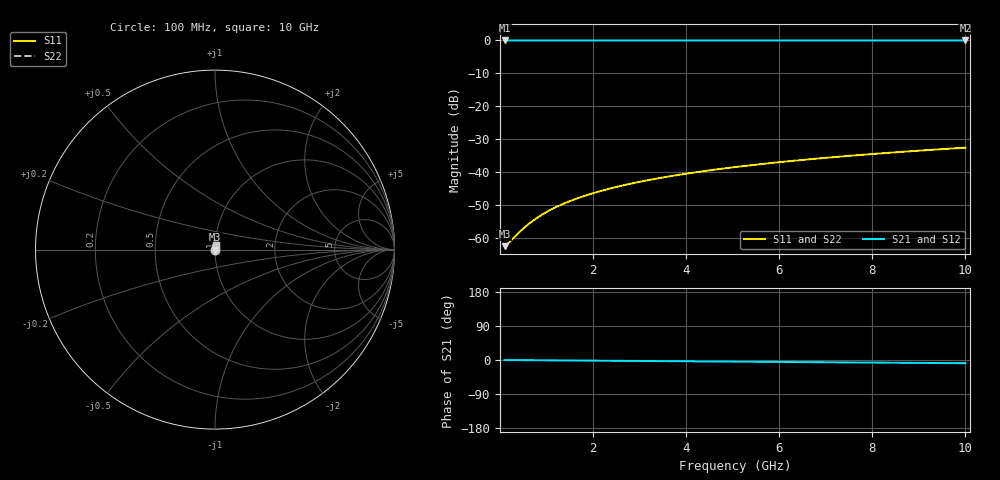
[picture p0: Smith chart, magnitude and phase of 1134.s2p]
# Hz S RI R 50.00
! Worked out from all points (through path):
!   100 points, 100 MHz to 10 GHz, reference 50 ohm
!   highest |S21| = -0.01 dB at 100 MHz (marker M1); lowest = 0.0 dB at 10 GHz (marker M2)
!   group delay of S21, straight-line fit = 2.37 ps
!   lowest |S11| = -62.6 dB at 100 MHz (marker M3), VSWR 1.00, Z = 50.1 + j0.0234 ohm
!   |S11| at or under -10 dB: start of sweep to end of sweep
!   |S22| runs from -62.6 to -32.6 dB; largest |S21 - S12| = 0
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1e8  0.000704 0.000233  0.9993 -0.00148  0.9993 -0.00148  0.000704 0.000233
2e8  0.000709 0.000467  0.9993 -0.00296  0.9993 -0.00296  0.000709 0.000467
4e8  0.000718 0.000933  0.9993 -0.00591  0.9993 -0.00591  0.000718 0.000933
5e8  0.000723 0.00117  0.9993 -0.00739  0.9993 -0.00739  0.000723 0.00117
6e8  0.000729 0.0014  0.9992 -0.00887  0.9992 -0.00887  0.000729 0.0014
7e8  0.000734 0.00163  0.9992 -0.0103  0.9992 -0.0103  0.000734 0.00163
9e8  0.000748 0.0021  0.9992 -0.0133  0.9992 -0.0133  0.000748 0.0021
1.1e9  0.000764 0.00256  0.9991 -0.0163  0.9991 -0.0163  0.000764 0.00256
1.3e9  0.000782 0.00303  0.9991 -0.0192  0.9991 -0.0192  0.000782 0.00303
1.5e9  0.000803 0.0035  0.999 -0.0222  0.999 -0.0222  0.000803 0.0035
1.8e9  0.000839 0.00419  0.9989 -0.0266  0.9989 -0.0266  0.000839 0.00419
2.1e9  0.000881 0.00489  0.9988 -0.0311  0.9988 -0.0311  0.000881 0.00489
2.5e9  0.000946 0.00582  0.9985 -0.037  0.9985 -0.037  0.000946 0.00582
2.9e9  0.00102 0.00675  0.9983 -0.0429  0.9983 -0.0429  0.00102 0.00675
3.4e9  0.00113 0.00791  0.9979 -0.0503  0.9979 -0.0503  0.00113 0.00791
4.2e9  0.00134 0.00976  0.9972 -0.0621  0.9972 -0.0621  0.00134 0.00976
5.1e9  0.00164 0.0118  0.9963 -0.0754  0.9963 -0.0754  0.00164 0.0118
5.9e9  0.00194 0.0137  0.9953 -0.0873  0.9953 -0.0873  0.00194 0.0137
6.7e9  0.00229 0.0155  0.9941 -0.0991  0.9941 -0.0991  0.00229 0.0155
7.5e9  0.00268 0.0173  0.9928 -0.111  0.9928 -0.111  0.00268 0.0173
8.4e9  0.00318 0.0194  0.9912 -0.1243  0.9912 -0.1243  0.00318 0.0194
1e10  0.0042 0.023  0.9878 -0.1479  0.9878 -0.1479  0.0042 0.023
